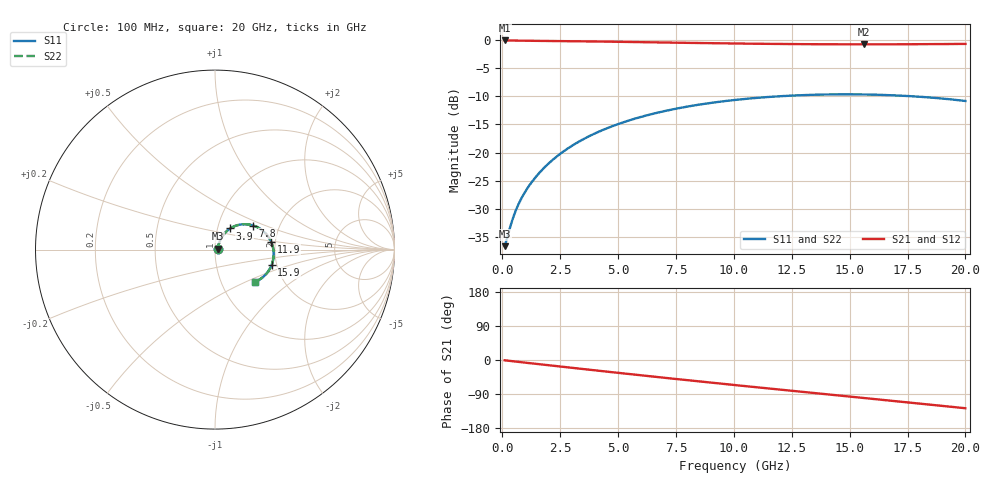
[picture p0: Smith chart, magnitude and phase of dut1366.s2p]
! Touchstone file exported from HFSS 2026.1.0
!  File:  C:/ffzhzh/LocalFiles/Ansys_Project_Files/temp_train_TSV_RDL_1366_1783345291_46376.aedt
!  Generated:  09:53:59 PM Jul  6, 2026
!  Design:  TSV_RDL
!  Project:  temp_train_TSV_RDL_1366_1783345291_46376
! Variables:
!  h_bsmrdl = 3.31um
!  h_ox = 20um
!  h_rdl = 5um
!  h_sub = 65.42um
!  h_tmrdl = 2.39um
!  h_tsv = 65.42um
!  h_via = 3um
!  l_bsmrdl = 296.01um
!  l_sub = 2081.57um
!  l_tmrdl = 169.42um
!  m_sub = 200um
!  pitch = 30.84um
!  r_tsv = 6.38um
!  s_tmrdl = 10um
!  w_bsmrdl = 12.06um
!  w_sub = 500um
!  w_tmrdl = 26.56um
!  x_tsv_center1 = 182.7um
!  x_tsv_center2 = 490.77um
!  x_tsv_center3 = 686.75um
!  x_tsv_center4 = 994.82um
!  x_tsv_center5 = 1190.8um
!  x_tsv_center6 = 1498.87um
# GHz S MA R 50.000000
! Terminal data exported
! Port[1] = TM_RDL1_1_T1
! Port[2] = TM_RDL5_1_T1
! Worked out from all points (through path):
!   200 points, 100 MHz to 20 GHz, reference 50 ohm
!   highest |S21| = -0.12 dB at 100 MHz (marker M1); lowest = -0.8 dB at 15.6 GHz (marker M2)
!   group delay of S21, straight-line fit = 17.5 ps
!   lowest |S11| = -36.5 dB at 100 MHz (marker M3), VSWR 1.03, Z = 51.4 + j0.478 ohm
!   |S11| at or under -10 dB: start of sweep to 11.98 GHz; 17.68 GHz to end of sweep
!   |S22| runs from -36.5 to -9.7 dB; largest |S21 - S12| = 1.6e-14
!   S11 on the Smith chart (normalised r, x): 100 MHz: 1.03, +0.01; 3.9 GHz: 1.15, +0.28; 7.8 GHz: 1.47, +0.42; 11.9 GHz: 1.90, +0.19; 15.9 GHz: 1.88, -0.36; 20 GHz: 1.45, -0.56
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0.1  0.01489 18.2  0.9859 -0.7  0.9859 -0.7  0.01489 18.2
! Gamma 0 0 0 0
! Port Impedance 50 0 50 0
0.4  0.02416 46.6  0.9842 -2.9  0.9842 -2.9  0.02416 46.6
0.6  0.03143 53.1  0.9827 -4.3  0.9827 -4.3  0.03143 53.1
0.9  0.04205 57.6  0.9808 -6.4  0.9808 -6.4  0.04205 57.6
1.2  0.05248 59.9  0.9793 -8.4  0.9793 -8.4  0.05247 59.9
1.7  0.06987 61.2  0.9771 -11.8  0.9771 -11.8  0.06987 61.2
2.2  0.08732 60.9  0.9751 -15.2  0.9751 -15.2  0.08732 60.9
2.8  0.1081 59.2  0.9723 -19.2  0.9723 -19.2  0.1081 59.2
3.5  0.1318 56.3  0.9687 -23.9  0.9687 -23.9  0.1318 56.3
3.9  0.1449 54.3  0.9664 -26.6  0.9664 -26.6  0.1449 54.3
5.2  0.1852 47.3  0.9582 -35.2  0.9582 -35.2  0.1852 47.3
6.8  0.2286 38.1  0.9471 -45.6  0.9471 -45.6  0.2286 38.1
7.8  0.2519 32.2  0.9403 -52.0  0.9403 -52.0  0.2519 32.2
8.9  0.2741 25.7  0.9331 -59.0  0.9331 -59.0  0.2741 25.7
10.1  0.294 18.6  0.9262 -66.5  0.9262 -66.5  0.294 18.6
11.9  0.3155 8.1  0.9179 -77.6  0.9179 -77.6  0.3155 8.1
13.4  0.3257 -0.6  0.9133 -86.7  0.9133 -86.7  0.3257 -0.6
15.6  0.3279 -13.2  0.9107 -100.1  0.9107 -100.1  0.3279 -13.2
15.9  0.3271 -15.0  0.9108 -102.0  0.9108 -102.0  0.3271 -14.9
16.7  0.3234 -19.6  0.9113 -106.9  0.9113 -106.9  0.3234 -19.5
18.4  0.309 -29.3  0.9143 -117.3  0.9143 -117.3  0.309 -29.3
20  0.2872 -38.5  0.9191 -127.3  0.9191 -127.3  0.2872 -38.5
